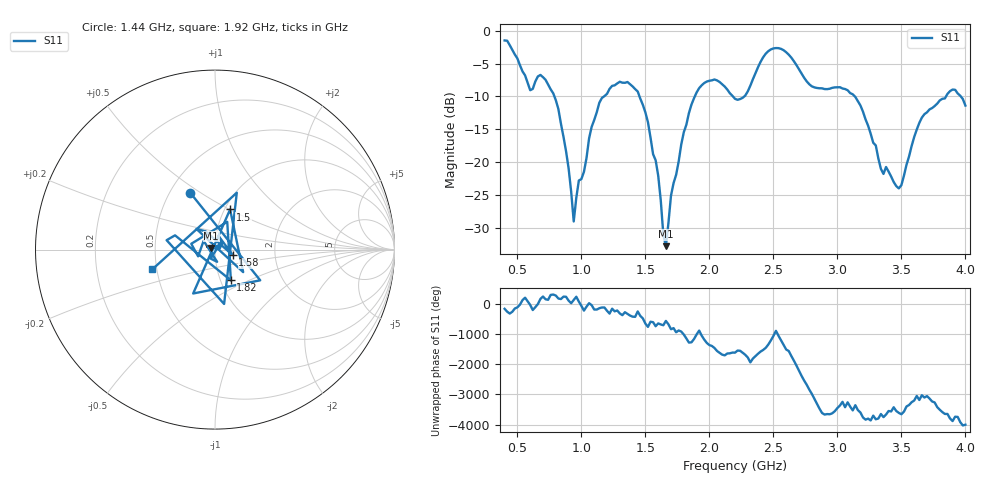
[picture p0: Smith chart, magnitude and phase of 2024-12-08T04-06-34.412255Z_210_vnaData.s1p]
!Created with skrf (http://scikit-rf.org).
# Hz S RI R 50.0
!freq ReS11 ImS11
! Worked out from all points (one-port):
!   181 points, 400 MHz to 4 GHz, reference 50 ohm
!   lowest |S11| = -32.8 dB at 1.66 GHz (marker M1), VSWR 1.05, Z = 47.9 + j0.8 ohm
!   |S11| at or under -10 dB: 789.2 MHz to 1.176 GHz (386.8 MHz wide, 39.4 % of centre); 1.454 GHz to 1.886 GHz (431.9 MHz wide, 25.9 % of centre); 3.137 GHz to 3.849 GHz (711.7 MHz wide, 20.4 % of centre) (the widest 3 of 5)
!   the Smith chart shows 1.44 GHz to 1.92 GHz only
!   S11 on the Smith chart (normalised r, x): 1.44 GHz: 0.63, +0.45; 1.5 GHz: 1.06, +0.50; 1.58 GHz: 1.22, -0.08; 1.82 GHz: 1.12, -0.40; 1.92 GHz: 0.47, -0.12
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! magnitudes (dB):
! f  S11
! 400 MHz  -1.5
! 600 MHz  -9.0
! 720 MHz  -7.5
! 860 MHz  -16.1
! 940 MHz  -29.0
! 980 MHz  -22.8
! 1.14 GHz  -11.0
! 1.3 GHz  -7.8
! 1.44 GHz  -9.2
! 1.5 GHz  -12.4
! 1.58 GHz  -19.7
! 1.66 GHz  -32.8
! 1.7 GHz  -25.1
! 1.76 GHz  -19.9
! 1.82 GHz  -14.3
! 1.92 GHz  -8.7
! 2.04 GHz  -7.4
! 2.2 GHz  -10.4
! 2.48 GHz  -2.8
! 2.66 GHz  -4.6
! 2.8 GHz  -8.5
! 3.1 GHz  -9.5
! 3.36 GHz  -21.8
! 3.48 GHz  -24.0
! 3.56 GHz  -19.1
! 3.72 GHz  -12.0
! 3.9 GHz  -8.9
! 4 GHz  -11.4
